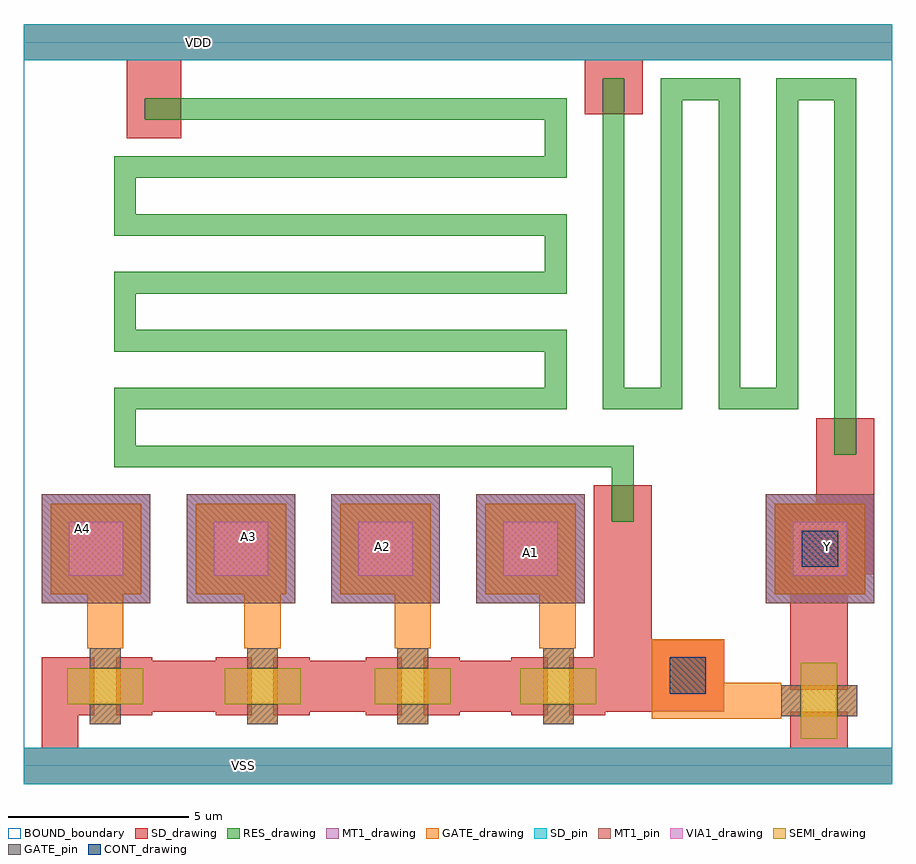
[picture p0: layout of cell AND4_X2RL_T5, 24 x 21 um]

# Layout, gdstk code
from math import pi, radians
import gdstk
lib = gdstk.Library(unit=1e-6, precision=1e-09)
def R(c, l, rs):  # rectangles x0, y0, x1, y1
    for r in rs: c.add(gdstk.rectangle(r[:2], r[2:], *l))
def A(c, l, x, y, w, h, nx, ny, dx, dy):  # array of equal rectangles
    R(c, l, [(x+i*dx, y+j*dy, x+i*dx+w, y+j*dy+h) for i in range(nx) for j in range(ny)])
def P(c, l, *ps):  # polygons
    for p in ps: c.add(gdstk.Polygon(p, *l))
RES_drawing = (1, 0)
SEMI_drawing = (3, 0)
SD_drawing = (10, 0)
SD_pin = (10, 3)
GATE_drawing = (11, 0)
GATE_pin = (11, 3)
MT1_drawing = (20, 0)
MT1_pin = (20, 3)
CONT_drawing = (30, 0)
VIA1_drawing = (41, 0)
BOUND_boundary = (150, 5)

nch_cdns_772544889840 = lib.new_cell('nch_CDNS_772544889840')
R(nch_cdns_772544889840, SEMI_drawing, [(-1.05,-0.5,1.05,0.5)])
R(nch_cdns_772544889840, SD_drawing, [(-1.3,-0.8,-0.3,0.8), (0.3,-0.8,1.3,0.8)])
R(nch_cdns_772544889840, GATE_drawing, [(-0.425,-1.05,0.425,1.05)])
R(nch_cdns_772544889840, GATE_pin, [(-0.425,-1.05,0.425,-0.5), (-0.425,0.5,0.425,1.05)])

gate_mt1_cdns_7725448898 = lib.new_cell('GATE_MT1_CDNS_772544889840')
R(gate_mt1_cdns_7725448898, GATE_drawing, [(-1.25,-1.25,1.25,1.25)])
R(gate_mt1_cdns_7725448898, MT1_drawing, [(-1.25,-1.25,1.25,1.25)])
R(gate_mt1_cdns_7725448898, VIA1_drawing, [(-0.75,-0.75,0.75,0.75)])

sd_gate_cdns_77254488984 = lib.new_cell('SD_GATE_CDNS_772544889841')
R(sd_gate_cdns_77254488984, SD_drawing, [(-1,-1,1,1)])
R(sd_gate_cdns_77254488984, GATE_drawing, [(-1,-1,1,1)])
R(sd_gate_cdns_77254488984, CONT_drawing, [(-0.5,-0.5,0.5,0.5)])

c_sd_gate_cdns_77254488984 = lib.new_cell('SD_GATE_CDNS_772544889842')
R(c_sd_gate_cdns_77254488984, SD_drawing, [(-1.25,-1.25,1.25,1.25)])
R(c_sd_gate_cdns_77254488984, GATE_drawing, [(-1.25,-1.25,1.25,1.25)])
R(c_sd_gate_cdns_77254488984, CONT_drawing, [(-0.5,-0.5,0.5,0.5)])

and4_x2rl_t5 = lib.new_cell('AND4_X2RL_T5')
R(and4_x2rl_t5, SD_drawing, [(0,-0.5,24,0.5), (0.5,0.5,1.5,3), (15.75,6.25,17.35,7.75), (21.9,8.075,23.5,9.6), (2.85,17.35,4.35,19.5), (15.5,18,17.1,19.5), (0,19.5,24,20.5)])
R(and4_x2rl_t5, SD_pin, [(0,-0.5,24,0.5), (0,19.5,24,20.5)])
P(and4_x2rl_t5, GATE_drawing, [(20.825,2.3),(20.825,1.3),(20.925,1.3),(20.925,1.425),(20.975,1.425),(20.975,2.175),(20.925,2.175),(20.925,2.3)],
  [(15.25,3.35),(14.25,3.35),(14.25,3.25),(14.4,3.25),(14.4,3.2),(15.15,3.2),(15.15,3.25),(15.25,3.25)],
  [(2.75,3.35),(1.75,3.35),(1.75,3.25),(1.875,3.25),(1.875,3.2),(2.625,3.2),(2.625,3.25),(2.75,3.25)],
  [(7.1,3.35),(6.1,3.35),(6.1,3.25),(6.225,3.25),(6.225,3.2),(6.975,3.2),(6.975,3.25),(7.1,3.25)],
  [(11.25,3.35),(10.25,3.35),(10.25,3.25),(10.375,3.25),(10.375,3.2),(11.125,3.2),(11.125,3.25),(11.25,3.25)])
A(and4_x2rl_t5, MT1_drawing, 0.5, 4.5, 3, 3, 4, 1, 4, 0)
R(and4_x2rl_t5, MT1_drawing, [(20.5,4.5,23.5,7.5)])
A(and4_x2rl_t5, MT1_pin, 0.5, 4.5, 3, 3, 4, 1, 4, 0)
R(and4_x2rl_t5, MT1_pin, [(20.5,4.5,23.5,7.5)])
R(and4_x2rl_t5, BOUND_boundary, [(0,0,24,20)])
and4_x2rl_t5.add(gdstk.FlexPath([(20.825,1.8),(17.35,1.8)], 1, ends="flush", simple_path=True, layer=11, datatype=0))  # GATE_drawing
and4_x2rl_t5.add(gdstk.FlexPath([(2.25,3.35),(2.25,5.825)], 1, ends="flush", simple_path=True, layer=11, datatype=0))  # GATE_drawing
and4_x2rl_t5.add(gdstk.FlexPath([(6.6,3.35),(6.6,5.15)], 1, ends="flush", simple_path=True, layer=11, datatype=0))  # GATE_drawing
and4_x2rl_t5.add(gdstk.FlexPath([(14.75,3.35),(14.75,5.35)], 1, ends="flush", simple_path=True, layer=11, datatype=0))  # GATE_drawing
and4_x2rl_t5.add(gdstk.FlexPath([(10.75,3.35),(10.75,5.325)], 1, ends="flush", simple_path=True, layer=11, datatype=0))  # GATE_drawing
and4_x2rl_t5.add(gdstk.FlexPath([(16.55,6.25),(16.55,2.2)], 1.6, ends=(0, 0.7), simple_path=True, layer=10, datatype=0))  # SD_drawing
and4_x2rl_t5.add(gdstk.FlexPath([(21.975,6.1),(22.7,6.1)], 1.6, ends="extended", simple_path=True, layer=10, datatype=0))  # SD_drawing
and4_x2rl_t5.add(gdstk.FlexPath([(22.7,6.1),(22.7,8.075)], 1.6, ends=(0.8, 0), simple_path=True, layer=10, datatype=0))  # SD_drawing
and4_x2rl_t5.add(gdstk.FlexPath([(16.55,2.2),(19.15,2.2)], 1.4, ends=(0.8, 0), simple_path=True, layer=10, datatype=0))  # SD_drawing
and4_x2rl_t5.add(gdstk.FlexPath([(21.975,3.1),(21.975,6.1)], 1.6, ends=(0, 0.8), simple_path=True, layer=10, datatype=0))  # SD_drawing
and4_x2rl_t5.add(gdstk.FlexPath([(3.55,2.2),(5.3,2.2)], 1.4, ends="flush", simple_path=True, layer=10, datatype=0))  # SD_drawing
and4_x2rl_t5.add(gdstk.FlexPath([(12.05,2.2),(13.475,2.2)], 1.4, ends="flush", simple_path=True, layer=10, datatype=0))  # SD_drawing
and4_x2rl_t5.add(gdstk.FlexPath([(7.9,2.2),(9.45,2.2)], 1.4, ends="flush", simple_path=True, layer=10, datatype=0))  # SD_drawing
and4_x2rl_t5.add(gdstk.FlexPath([(16.3,18),(16.3,10.15),(17.9,10.15),(17.9,18.7),(19.5,18.7),(19.5,10.15),(21.1,10.15),(21.1,18.7),(22.7,18.7),(22.7,8.6)], 0.6, ends=(1, 0), simple_path=True, layer=1, datatype=0))  # RES_drawing
and4_x2rl_t5.add(gdstk.FlexPath([(4.35,18.15),(14.7,18.15),(14.7,16.55),(2.8,16.55),(2.8,14.95),(14.7,14.95),(14.7,13.35),(2.8,13.35),(2.8,11.75),(14.7,11.75),(14.7,10.15),(2.8,10.15),(2.8,8.55),(16.55,8.55),(16.55,7.75)], 0.6, ends=(1, 1), simple_path=True, layer=1, datatype=0))  # RES_drawing
and4_x2rl_t5.add(gdstk.Reference(nch_cdns_772544889840, (2.25,2.2)))
and4_x2rl_t5.add(gdstk.Reference(nch_cdns_772544889840, (21.975,1.8), rotation=pi/2))
and4_x2rl_t5.add(gdstk.Reference(nch_cdns_772544889840, (6.6,2.2)))
and4_x2rl_t5.add(gdstk.Reference(nch_cdns_772544889840, (14.775,2.2)))
and4_x2rl_t5.add(gdstk.Reference(nch_cdns_772544889840, (10.75,2.2)))
and4_x2rl_t5.add(gdstk.Reference(gate_mt1_cdns_7725448898, (2,6)))
and4_x2rl_t5.add(gdstk.Reference(gate_mt1_cdns_7725448898, (6,6)))
and4_x2rl_t5.add(gdstk.Reference(gate_mt1_cdns_7725448898, (22,6)))
and4_x2rl_t5.add(gdstk.Reference(gate_mt1_cdns_7725448898, (14,6)))
and4_x2rl_t5.add(gdstk.Reference(gate_mt1_cdns_7725448898, (10,6)))
and4_x2rl_t5.add(gdstk.Reference(sd_gate_cdns_77254488984, (18.35,2.5)))
and4_x2rl_t5.add(gdstk.Reference(c_sd_gate_cdns_77254488984, (22,6)))
and4_x2rl_t5.add(gdstk.Label('VDD', (4.825,20), layer=10, texttype=3))
and4_x2rl_t5.add(gdstk.Label('VSS', (6.075,0), layer=10, texttype=3))
and4_x2rl_t5.add(gdstk.Label('A3', (6.2,6.35), layer=20, texttype=3))
and4_x2rl_t5.add(gdstk.Label('Y', (22.2,6.05), layer=20, texttype=3))
and4_x2rl_t5.add(gdstk.Label('A2', (9.9,6.05), layer=20, texttype=3))
and4_x2rl_t5.add(gdstk.Label('A1', (14,5.9), layer=20, texttype=3))
and4_x2rl_t5.add(gdstk.Label('A4', (1.625,6.55), layer=20, texttype=3))

lib.write_gds('AND4_X2RL_T5.gds')
